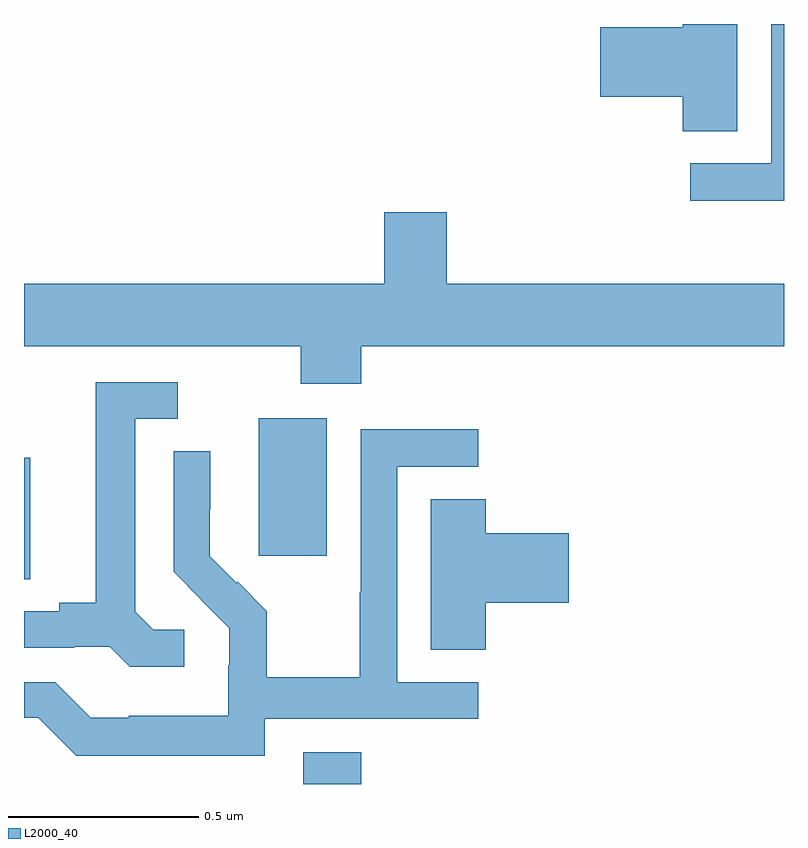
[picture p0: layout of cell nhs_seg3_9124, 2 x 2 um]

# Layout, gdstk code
import gdstk
lib = gdstk.Library(unit=1e-6, precision=1e-09)
def R(c, l, rs):  # rectangles x0, y0, x1, y1
    for r in rs: c.add(gdstk.rectangle(r[:2], r[2:], *l))
def P(c, l, *ps):  # polygons
    for p in ps: c.add(gdstk.Polygon(p, *l))
L2000_40 = (2000, 40)

nhs_seg3_9124 = lib.new_cell('nhs_seg3_9124')
R(nhs_seg3_9124, L2000_40, [(224.735,730.4,224.888,730.483), (224,730.939,224.017,731.259), (224.618,731.001,224.797,731.362)])
P(nhs_seg3_9124, L2000_40, [(226,732.4),(225.966,732.4),(225.966,732.033),(225.753,732.033),(225.753,731.935),(226,731.935)],
  [(225.877,732.4),(225.734,732.4),(225.734,732.392),(225.516,732.392),(225.516,732.209),(225.734,732.209),(225.734,732.118),(225.877,732.118)],
  [(224.888,731.552),(226,731.552),(226,731.716),(225.112,731.716),(225.112,731.905),(224.948,731.905),(224.948,731.716),(224,731.716),(224,731.552),(224.728,731.552),(224.728,731.453),(224.888,731.453)],
  [(224.422,730.806),(224.34,730.806),(224.293,730.853),(224.293,731.361),(224.404,731.361),(224.404,731.457),(224.189,731.457),(224.189,730.877),(224.093,730.877),(224.093,730.854),(224,730.854),(224,730.758),(224.132,730.758),(224.132,730.761),(224.226,730.761),(224.278,730.709),(224.422,730.709)],
  [(224.634,730.572),(225.196,730.572),(225.196,730.668),(224.982,730.668),(224.982,731.235),(225.196,731.235),(225.196,731.334),(224.886,731.334),(224.886,730.904),(224.884,730.904),(224.884,730.681),(224.639,730.681),(224.639,730.855),(224.562,730.932),(224.559,730.929),(224.489,731),(224.489,731.122),(224.49,731.122),(224.49,731.276),(224.394,731.276),(224.394,730.958),(224.467,730.885),(224.466,730.884),(224.54,730.81),(224.54,730.713),(224.538,730.713),(224.538,730.579),(224.275,730.579),(224.275,730.575),(224.175,730.575),(224.082,730.668),(224,730.668),(224,730.575),(224.037,730.575),(224.137,730.475),(224.634,730.475)],
  [(225.215,730.877),(225.433,730.877),(225.433,731.06),(225.215,731.06),(225.215,731.15),(225.071,731.15),(225.071,730.753),(225.215,730.753)])

lib.write_gds('nhs_seg3_9124.gds')
